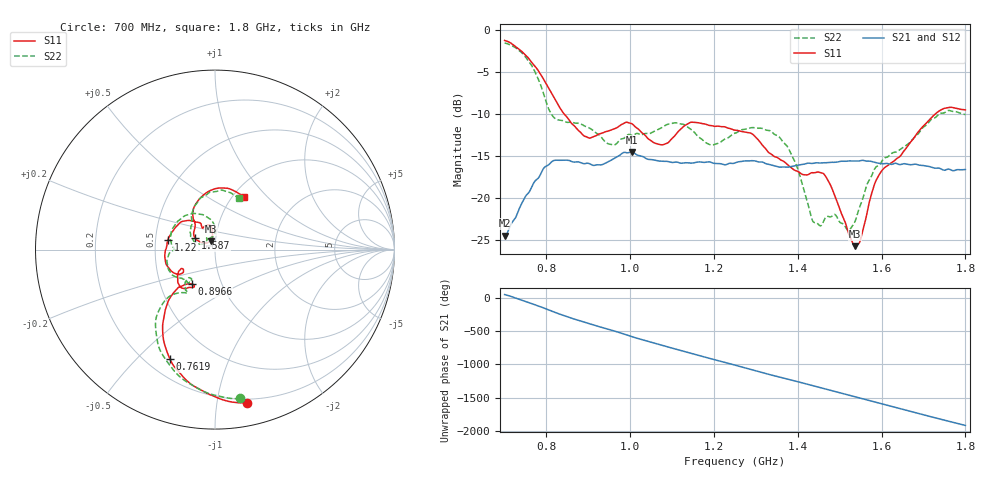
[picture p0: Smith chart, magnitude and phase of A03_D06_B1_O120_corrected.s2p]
! Created with skrf 1.9.0 (http://scikit-rf.org).
# Hz S RI R 50.0
!freq ReS11 ImS11 ReS21 ImS21 ReS12 ImS12 ReS22 ImS22
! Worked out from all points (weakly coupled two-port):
!   1601 points, 700 MHz to 1.8 GHz, reference 50 ohm
!   highest |S21| = -14.47 dB at 1.003 GHz (marker M1); lowest = -24.4 dB at 700.7 MHz (marker M2)
!   lowest |S11| = -25.7 dB at 1.537 GHz (marker M3), VSWR 1.11, Z = 47.5 + j4.38 ohm
!   |S11| at or under -10 dB: 843 MHz to 1.727 GHz (884 MHz wide, 68.8 % of centre)
!   |S22| runs from -23.8 to -1.5 dB; largest |S21 - S12| = 0.0035
!   S11 on the Smith chart (normalised r, x): 700 MHz: 0.17, -1.21; 761.9 MHz: 0.29, -0.63; 896.6 MHz: 0.72, -0.30; 1.22 GHz: 0.58, +0.07; 1.587 GHz: 0.79, +0.10; 1.8 GHz: 1.12, +0.75
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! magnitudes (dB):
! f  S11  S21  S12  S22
! 700 MHz  -1.2  -24.4  -24.2  -1.5
! 700.7 MHz  -1.2  -24.4  -24.1  -1.5
! 761.9 MHz  -3.6  -19.0  -18.9  -4.0
! 816.2 MHz  -7.8  -15.5  -15.6  -10.3
! 883.6 MHz  -12.3  -15.8  -15.7  -11.2
! 896.6 MHz  -12.7  -15.8  -15.9  -11.5
! 955.1 MHz  -11.8  -15.4  -15.4  -13.6
! 1.003 GHz  -11.1  -14.5  -14.6  -12.5
! 1.067 GHz  -13.5  -15.5  -15.5  -11.8
! 1.144 GHz  -10.9  -15.8  -15.8  -11.8
! 1.22 GHz  -11.5  -15.9  -16.0  -13.1
! 1.25 GHz  -11.9  -15.8  -15.7  -12.2
! 1.357 GHz  -15.4  -16.3  -16.2  -12.8
! 1.396 GHz  -16.7  -16.1  -16.1  -15.9
! 1.434 GHz  -16.9  -15.8  -15.8  -22.5
! 1.469 GHz  -17.6  -15.8  -15.7  -22.2
! 1.537 GHz  -25.7  -15.5  -15.5  -22.7
! 1.55 GHz  -24.9  -15.5  -15.5  -20.8
! 1.587 GHz  -17.9  -15.8  -15.7  -16.3
! 1.617 GHz  -16.0  -15.9  -15.8  -15.0
! 1.735 GHz  -9.7  -16.4  -16.4  -10.1
! 1.8 GHz  -9.5  -16.6  -16.5  -10.0
